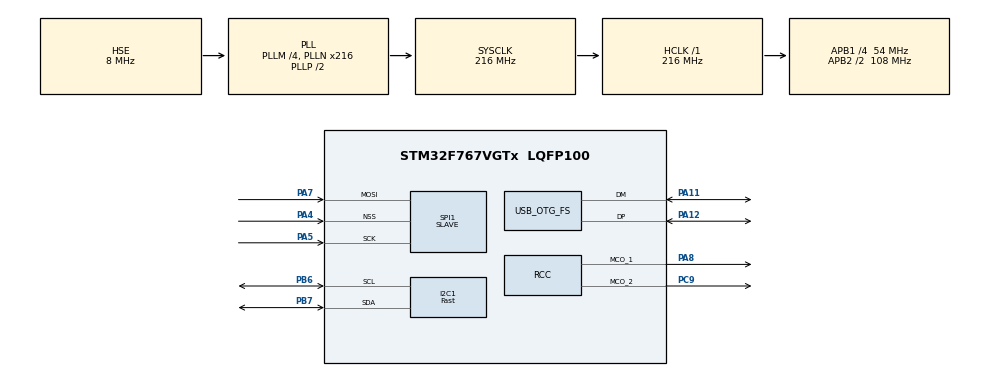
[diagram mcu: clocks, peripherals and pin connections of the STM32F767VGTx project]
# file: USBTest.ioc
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Dma.Request0=SPI1_RX
Dma.SPI1_RX.0.Direction=DMA_PERIPH_TO_MEMORY
Dma.SPI1_RX.0.FIFOMode=DMA_FIFOMODE_DISABLE
Dma.SPI1_RX.0.Instance=DMA2_Stream0
Dma.SPI1_RX.0.MemDataAlignment=DMA_MDATAALIGN_HALFWORD
Dma.SPI1_RX.0.MemInc=DMA_MINC_ENABLE
Dma.SPI1_RX.0.Mode=DMA_CIRCULAR
Dma.SPI1_RX.0.PeriphDataAlignment=DMA_PDATAALIGN_HALFWORD
Dma.SPI1_RX.0.PeriphInc=DMA_PINC_DISABLE
Dma.SPI1_RX.0.Priority=DMA_PRIORITY_MEDIUM
I2C1.I2C_Speed_Mode=I2C_Fast
I2C1.Timing=0x6000030D
Mcu.Family=STM32F7
Mcu.Name=STM32F767VGTx
Mcu.Package=LQFP100
NVIC.DMA2_Stream0_IRQn=true\:0\:0\:false\:false\:true\:false\:true
NVIC.OTG_FS_IRQn=true\:0\:0\:false\:false\:true\:false\:true
NVIC.PriorityGroup=NVIC_PRIORITYGROUP_4
PA11.Mode=Device_Only
PA11.Signal=USB_OTG_FS_DM
PA12.Mode=Device_Only
PA12.Signal=USB_OTG_FS_DP
PA13.Mode=Serial_Wire
PA13.Signal=SYS_JTMS-SWDIO
PA14.Mode=Serial_Wire
PA14.Signal=SYS_JTCK-SWCLK
PA4.Mode=NSS_Signal_Hard_Input
PA4.Signal=SPI1_NSS
PA5.Mode=RX_Only_Simplex_Unidirect_Slave
PA5.Signal=SPI1_SCK
PA7.Mode=RX_Only_Simplex_Unidirect_Slave
PA7.Signal=SPI1_MOSI
PA8.GPIO_Mode=GPIO_MODE_AF_PP
PA8.GPIO_Speed=GPIO_SPEED_FREQ_VERY_HIGH
PA8.Mode=Clock-out-1
PA8.Signal=RCC_MCO_1
PB6.Mode=I2C
PB6.Signal=I2C1_SCL
PB7.Mode=I2C
PB7.Signal=I2C1_SDA
PC14/OSC32_IN.Mode=LSE-External-Oscillator
PC14/OSC32_IN.Signal=RCC_OSC32_IN
PC15/OSC32_OUT.Mode=LSE-External-Oscillator
PC15/OSC32_OUT.Signal=RCC_OSC32_OUT
PC9.GPIO_Speed=GPIO_SPEED_FREQ_VERY_HIGH
PC9.Mode=Clock-out-2
PC9.Signal=RCC_MCO_2
PH0/OSC_IN.Mode=HSE-External-Oscillator
PH0/OSC_IN.Signal=RCC_OSC_IN
PH1/OSC_OUT.Mode=HSE-External-Oscillator
PH1/OSC_OUT.Signal=RCC_OSC_OUT
ProjectManager.HeapSize=0x200
ProjectManager.StackSize=0x400
ProjectManager.TargetToolchain=MDK-ARM V5.27
RCC.AHBFreq_Value=216000000
RCC.APB1CLKDivider=RCC_HCLK_DIV4
RCC.APB1Freq_Value=54000000
RCC.APB1TimFreq_Value=108000000
RCC.APB2CLKDivider=RCC_HCLK_DIV2
RCC.APB2Freq_Value=108000000
RCC.APB2TimFreq_Value=216000000
RCC.CortexFreq_Value=216000000
RCC.HCLKFreq_Value=216000000
RCC.HSE_VALUE=8000000
RCC.HSI_VALUE=16000000
RCC.PLL48CLockSelection=RCC_CLK48SOURCE_PLLSAIP
RCC.PLLM=4
RCC.PLLN=216
RCC.PLLSAIN=96
RCC.PLLSAIP=RCC_PLLSAIP_DIV4
RCC.RCC_MCO1Source=RCC_MCO1SOURCE_PLLCLK
RCC.RCC_MCO2Source=RCC_MCO2SOURCE_PLLI2SCLK
RCC.RCC_MCODiv1=RCC_MCODIV_4
RCC.RCC_MCODiv2=RCC_MCODIV_4
RCC.SYSCLKFreq_VALUE=216000000
RCC.SYSCLKSource=RCC_SYSCLKSOURCE_PLLCLK
RCC.USBFreq_Value=48000000
RCC.VCOOutputFreq_Value=432000000
SPI1.CLKPolarity=SPI_POLARITY_HIGH
SPI1.DataSize=SPI_DATASIZE_9BIT
SPI1.Direction=SPI_DIRECTION_2LINES_RXONLY
SPI1.Mode=SPI_MODE_SLAVE
SPI1.VirtualNSS=VM_NSSHARD
SPI1.VirtualType=VM_SLAVE
USB_DEVICE.CLASS_NAME_FS=HID
USB_DEVICE.VirtualMode-HID_FS=Hid
USB_DEVICE.VirtualModeFS=Hid_FS
USB_OTG_FS.VirtualMode=Device_Only
VP_USB_DEVICE_VS_USB_DEVICE_HID_FS.Mode=HID_FS
board=custom

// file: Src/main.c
/* USER CODE BEGIN Header */
/**
  ******************************************************************************
  * @file           : main.c
  * @brief          : Main program body
  ******************************************************************************
  * @attention
  *
  * <h2><center>&copy; Copyright (c) 2020 STMicroelectronics.
  * All rights reserved.</center></h2>
  *
  * This software component is licensed by ST under Ultimate Liberty license
  * SLA0044, the "License"; You may not use this file except in compliance with
  * the License. You may obtain a copy of the License at:
  *                             www.st.com/SLA0044
  *
  ******************************************************************************
  */
/* USER CODE END Header */

#include "main.h"
#include "usb_device.h"

/* USER CODE BEGIN Includes */
#include "DEV_Config.h"
#include "PAJ7620U2.h"
#include "usbd_hid.h"
/* USER CODE END Includes */

I2C_HandleTypeDef hi2c1;

SPI_HandleTypeDef hspi1;
DMA_HandleTypeDef hdma_spi1_rx;

void SystemClock_Config(void);
static void MX_GPIO_Init(void);
static void MX_DMA_Init(void);
static void MX_I2C1_Init(void);
static void MX_SPI1_Init(void);
/* USER CODE BEGIN PFP */
extern USBD_HandleTypeDef hUsbDeviceFS;

uint16_t spiData[1800] = {0};
uint8_t  sendBuf[1800] = {0};

volatile uint8_t sendFlag = 0;
/* USER CODE END PFP */

/* USER CODE BEGIN 0 */
unsigned char PAJ7620U2_init()
{
	unsigned char i,State;
	DEV_Set_I2CAddress(PAJ7620U2_I2C_ADDRESS);
	DEV_Delay_ms(5);
	State = DEV_I2C_ReadByte(0x00);												//Read State
	if (State != 0x20)
		return 0;																						//Wake up failed
	DEV_I2C_WriteByte(PAJ_BANK_SELECT, 0);								//Select Bank 0
	for (i=0;i< Init_Array;i++)
	{
		 DEV_I2C_WriteByte(Init_Register_Array[i][0], Init_Register_Array[i][1]);//Power up initialize
	}
	return 1;
}

void HAL_SPI_RxHalfCpltCallback(SPI_HandleTypeDef *hspi)
{
	memcpy((uint8_t *)sendBuf, (uint8_t *)spiData, 1800);
	sendFlag = 1;
}

void HAL_SPI_RxCpltCallback(SPI_HandleTypeDef *hspi)
{
	memcpy((uint8_t *)sendBuf, (uint8_t *)&spiData[900], 1800);
	sendFlag = 1;
}

/* USER CODE END 0 */

int main(void)
{

  /* MCU Configuration--------------------------------------------------------*/

  /* Reset of all peripherals, Initializes the Flash interface and the Systick. */
  HAL_Init();

  /* Configure the system clock */
  SystemClock_Config();

  /* Initialize all configured peripherals */
  MX_GPIO_Init();
  MX_USB_DEVICE_Init();
  MX_DMA_Init();
  MX_I2C1_Init();
  MX_SPI1_Init();
  /* USER CODE BEGIN 2 */

	if(!PAJ7620U2_init())
	{
        while(1)
            __NOP();
	}
	DEV_I2C_WriteByte(PAJ_BANK_SELECT, 0);																	//Select Bank 0

    HAL_SPI_Receive_DMA(&hspi1, (uint8_t *)spiData, 1800);

  /* USER CODE END 2 */

  /* Infinite loop */
  while (1)
  {

    /* USER CODE BEGIN 3 */
	  if(sendFlag)
	  {
		 //USBD_HID_SendReport(&hUsbDeviceFS, (uint8_t *)sendBuf, 1800);
		sendFlag = 0;
	  }
  }
  /* USER CODE END 3 */
}

void SystemClock_Config(void)
{
  RCC_OscInitTypeDef RCC_OscInitStruct = {0};
  RCC_ClkInitTypeDef RCC_ClkInitStruct = {0};
  RCC_PeriphCLKInitTypeDef PeriphClkInitStruct = {0};

  /** Configure LSE Drive Capability
  */
  HAL_PWR_EnableBkUpAccess();
  /** Configure the main internal regulator output voltage
  */
  __HAL_RCC_PWR_CLK_ENABLE();
  __HAL_PWR_VOLTAGESCALING_CONFIG(PWR_REGULATOR_VOLTAGE_SCALE1);
  /** Initializes the CPU, AHB and APB busses clocks
  */
  RCC_OscInitStruct.OscillatorType = RCC_OSCILLATORTYPE_HSE;
  RCC_OscInitStruct.HSEState = RCC_HSE_ON;
  RCC_OscInitStruct.PLL.PLLState = RCC_PLL_ON;
  RCC_OscInitStruct.PLL.PLLSource = RCC_PLLSOURCE_HSE;
  RCC_OscInitStruct.PLL.PLLM = 4;
  RCC_OscInitStruct.PLL.PLLN = 216;
  RCC_OscInitStruct.PLL.PLLP = RCC_PLLP_DIV2;
  RCC_OscInitStruct.PLL.PLLQ = 2;
  if (HAL_RCC_OscConfig(&RCC_OscInitStruct) != HAL_OK)
  {
    Error_Handler();
  }
  /** Activate the Over-Drive mode
  */
  if (HAL_PWREx_EnableOverDrive() != HAL_OK)
  {
    Error_Handler();
  }
  /** Initializes the CPU, AHB and APB busses clocks
  */
  RCC_ClkInitStruct.ClockType = RCC_CLOCKTYPE_HCLK|RCC_CLOCKTYPE_SYSCLK
                              |RCC_CLOCKTYPE_PCLK1|RCC_CLOCKTYPE_PCLK2;
  RCC_ClkInitStruct.SYSCLKSource = RCC_SYSCLKSOURCE_PLLCLK;
  RCC_ClkInitStruct.AHBCLKDivider = RCC_SYSCLK_DIV1;
  RCC_ClkInitStruct.APB1CLKDivider = RCC_HCLK_DIV4;
  RCC_ClkInitStruct.APB2CLKDivider = RCC_HCLK_DIV2;

  if (HAL_RCC_ClockConfig(&RCC_ClkInitStruct, FLASH_LATENCY_7) != HAL_OK)
  {
    Error_Handler();
  }
  PeriphClkInitStruct.PeriphClockSelection = RCC_PERIPHCLK_PLLI2S|RCC_PERIPHCLK_I2C1
                              |RCC_PERIPHCLK_CLK48;
  PeriphClkInitStruct.PLLI2S.PLLI2SN = 192;
  PeriphClkInitStruct.PLLI2S.PLLI2SP = RCC_PLLP_DIV2;
  PeriphClkInitStruct.PLLI2S.PLLI2SR = 2;
  PeriphClkInitStruct.PLLI2S.PLLI2SQ = 2;
  PeriphClkInitStruct.PLLSAI.PLLSAIN = 96;
  PeriphClkInitStruct.PLLSAI.PLLSAIR = 2;
  PeriphClkInitStruct.PLLSAI.PLLSAIQ = 2;
  PeriphClkInitStruct.PLLSAI.PLLSAIP = RCC_PLLSAIP_DIV4;
  PeriphClkInitStruct.PLLI2SDivQ = 1;
  PeriphClkInitStruct.PLLSAIDivQ = 1;
  PeriphClkInitStruct.PLLSAIDivR = RCC_PLLSAIDIVR_2;
  PeriphClkInitStruct.I2c1ClockSelection = RCC_I2C1CLKSOURCE_PCLK1;
  PeriphClkInitStruct.Clk48ClockSelection = RCC_CLK48SOURCE_PLLSAIP;
  if (HAL_RCCEx_PeriphCLKConfig(&PeriphClkInitStruct) != HAL_OK)
  {
    Error_Handler();
  }
  HAL_RCC_MCOConfig(RCC_MCO1, RCC_MCO1SOURCE_PLLCLK, RCC_MCODIV_4);
  HAL_RCC_MCOConfig(RCC_MCO2, RCC_MCO2SOURCE_PLLI2SCLK, RCC_MCODIV_4);
}

static void MX_I2C1_Init(void)
{

  hi2c1.Instance = I2C1;
  hi2c1.Init.Timing = 0x6000030D;
  hi2c1.Init.OwnAddress1 = 0;
  hi2c1.Init.AddressingMode = I2C_ADDRESSINGMODE_7BIT;
  hi2c1.Init.DualAddressMode = I2C_DUALADDRESS_DISABLE;
  hi2c1.Init.OwnAddress2 = 0;
  hi2c1.Init.OwnAddress2Masks = I2C_OA2_NOMASK;
  hi2c1.Init.GeneralCallMode = I2C_GENERALCALL_DISABLE;
  hi2c1.Init.NoStretchMode = I2C_NOSTRETCH_DISABLE;
  if (HAL_I2C_Init(&hi2c1) != HAL_OK)
  {
    Error_Handler();
  }
  /** Configure Analogue filter
  */
  if (HAL_I2CEx_ConfigAnalogFilter(&hi2c1, I2C_ANALOGFILTER_ENABLE) != HAL_OK)
  {
    Error_Handler();
  }
  /** Configure Digital filter
  */
  if (HAL_I2CEx_ConfigDigitalFilter(&hi2c1, 0) != HAL_OK)
  {
    Error_Handler();
  }

}

static void MX_SPI1_Init(void)
{

  /* SPI1 parameter configuration*/
  hspi1.Instance = SPI1;
  hspi1.Init.Mode = SPI_MODE_SLAVE;
  hspi1.Init.Direction = SPI_DIRECTION_2LINES_RXONLY;
  hspi1.Init.DataSize = SPI_DATASIZE_9BIT;
  hspi1.Init.CLKPolarity = SPI_POLARITY_HIGH;
  hspi1.Init.CLKPhase = SPI_PHASE_1EDGE;
  hspi1.Init.NSS = SPI_NSS_HARD_INPUT;
  hspi1.Init.FirstBit = SPI_FIRSTBIT_MSB;
  hspi1.Init.TIMode = SPI_TIMODE_DISABLE;
  hspi1.Init.CRCCalculation = SPI_CRCCALCULATION_DISABLE;
  hspi1.Init.CRCPolynomial = 7;
  hspi1.Init.CRCLength = SPI_CRC_LENGTH_DATASIZE;
  hspi1.Init.NSSPMode = SPI_NSS_PULSE_DISABLE;
  if (HAL_SPI_Init(&hspi1) != HAL_OK)
  {
    Error_Handler();
  }

}

static void MX_DMA_Init(void)
{

  /* DMA controller clock enable */
  __HAL_RCC_DMA2_CLK_ENABLE();

  /* DMA interrupt init */
  /* DMA2_Stream0_IRQn interrupt configuration */
  HAL_NVIC_SetPriority(DMA2_Stream0_IRQn, 0, 0);
  HAL_NVIC_EnableIRQ(DMA2_Stream0_IRQn);

}

static void MX_GPIO_Init(void)
{
  GPIO_InitTypeDef GPIO_InitStruct = {0};

  /* GPIO Ports Clock Enable */
  __HAL_RCC_GPIOC_CLK_ENABLE();
  __HAL_RCC_GPIOH_CLK_ENABLE();
  __HAL_RCC_GPIOA_CLK_ENABLE();
  __HAL_RCC_GPIOB_CLK_ENABLE();

  /*Configure GPIO pin : PC9 */
  GPIO_InitStruct.Pin = GPIO_PIN_9;
  GPIO_InitStruct.Mode = GPIO_MODE_AF_PP;
  GPIO_InitStruct.Pull = GPIO_NOPULL;
  GPIO_InitStruct.Speed = GPIO_SPEED_FREQ_VERY_HIGH;
  GPIO_InitStruct.Alternate = GPIO_AF0_MCO;
  HAL_GPIO_Init(GPIOC, &GPIO_InitStruct);

  /*Configure GPIO pin : PA8 */
  GPIO_InitStruct.Pin = GPIO_PIN_8;
  GPIO_InitStruct.Mode = GPIO_MODE_AF_PP;
  GPIO_InitStruct.Pull = GPIO_NOPULL;
  GPIO_InitStruct.Speed = GPIO_SPEED_FREQ_VERY_HIGH;
  GPIO_InitStruct.Alternate = GPIO_AF0_MCO;
  HAL_GPIO_Init(GPIOA, &GPIO_InitStruct);

}

void Error_Handler(void)
{
}

/************************ (C) COPYRIGHT STMicroelectronics *****END OF FILE****/
